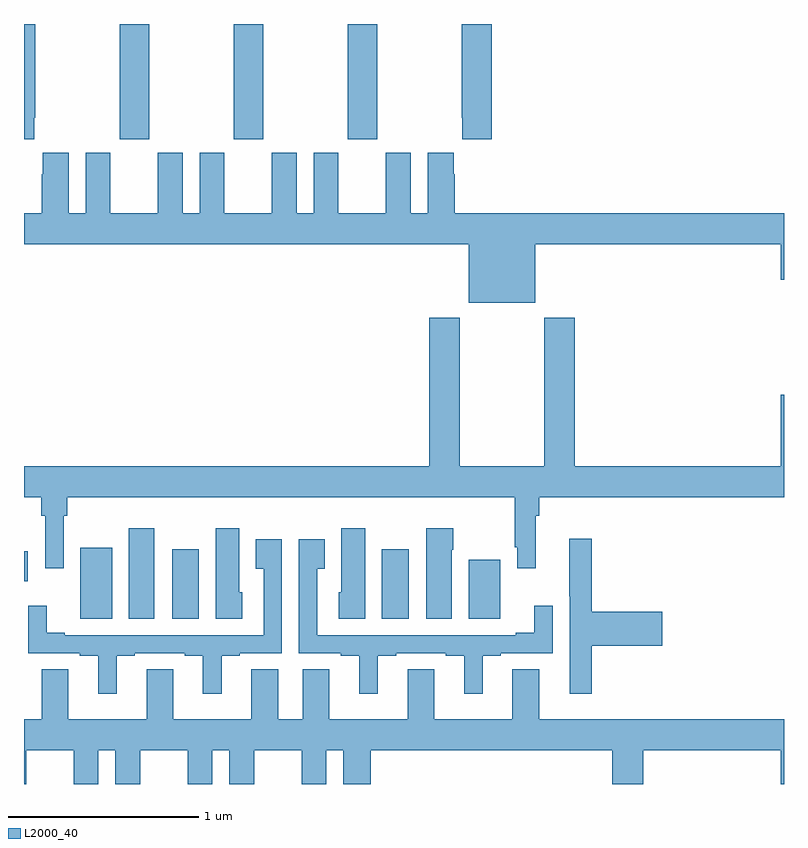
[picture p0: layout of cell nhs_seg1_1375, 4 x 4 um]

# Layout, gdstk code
import gdstk
lib = gdstk.Library(unit=1e-6, precision=1e-09)
def R(c, l, rs):  # rectangles x0, y0, x1, y1
    for r in rs: c.add(gdstk.rectangle(r[:2], r[2:], *l))
def A(c, l, x, y, w, h, nx, ny, dx, dy):  # array of equal rectangles
    R(c, l, [(x+i*dx, y+j*dy, x+i*dx+w, y+j*dy+h) for i in range(nx) for j in range(ny)])
def P(c, l, *ps):  # polygons
    for p in ps: c.add(gdstk.Polygon(p, *l))
L2000_40 = (2000, 40)

nhs_seg1_1375 = lib.new_cell('nhs_seg1_1375')
A(nhs_seg1_1375, L2000_40, 185.503, 577.593, 0.155, 0.606, 3, 1, 0.6, 0)
R(nhs_seg1_1375, L2000_40, [(185.297,575.068,185.464,575.443), (185.552,575.068,185.686,575.545), (185.78,575.068,185.92,575.434), (186.884,575.068,187.024,575.434), (187.34,575.068,187.507,575.38), (185,575.267,185.02,575.425)])
P(nhs_seg1_1375, L2000_40, [(185.053,577.705),(185.058,577.705),(185.058,578.199),(185,578.199),(185,577.593),(185.053,577.593)],
  [(187.463,578.199),(187.303,578.199),(187.303,577.705),(187.307,577.705),(187.307,577.593),(187.463,577.593)],
  [(187.69,577.04),(188.984,577.04),(188.984,576.852),(189,576.852),(189,577.204),(187.268,577.204),(187.268,577.409),(187.261,577.409),(187.261,577.522),(187.124,577.522),(187.124,577.204),(187.036,577.204),(187.036,577.522),(186.905,577.522),(186.905,577.204),(186.655,577.204),(186.655,577.522),(186.524,577.522),(186.524,577.204),(186.436,577.204),(186.436,577.522),(186.305,577.522),(186.305,577.204),(186.055,577.204),(186.055,577.522),(185.924,577.522),(185.924,577.204),(185.836,577.204),(185.836,577.522),(185.705,577.522),(185.705,577.204),(185.455,577.204),(185.455,577.522),(185.324,577.522),(185.324,577.204),(185.236,577.204),(185.236,577.522),(185.099,577.522),(185.099,577.409),(185.093,577.409),(185.093,577.204),(185,577.204),(185,577.04),(187.34,577.04),(187.34,576.731),(187.69,576.731)],
  [(185.208,575.612),(185.228,575.612),(185.228,575.708),(187.584,575.708),(187.584,575.446),(187.596,575.446),(187.596,575.334),(187.694,575.334),(187.694,575.612),(187.712,575.612),(187.712,575.708),(189,575.708),(189,576.247),(188.984,576.247),(188.984,575.872),(187.898,575.872),(187.898,576.652),(187.738,576.652),(187.738,575.872),(187.293,575.872),(187.293,576.652),(187.133,576.652),(187.133,575.872),(185,575.872),(185,575.708),(185.092,575.708),(185.092,575.612),(185.111,575.612),(185.111,575.334),(185.208,575.334)],
  [(186.148,575.208),(186.133,575.208),(186.133,575.545),(186.008,575.545),(186.008,575.068),(186.148,575.068)],
  [(186.796,575.545),(186.671,575.545),(186.671,575.208),(186.656,575.208),(186.656,575.068),(186.796,575.068)],
  [(187.252,575.432),(187.26,575.432),(187.26,575.545),(187.118,575.545),(187.118,575.068),(187.252,575.068)],
  [(187.988,574.927),(188.359,574.927),(188.359,575.105),(187.988,575.105),(187.988,575.491),(187.871,575.491),(187.871,575.188),(187.872,575.188),(187.872,574.674),(187.988,574.674)],
  [(186.862,574.875),(186.958,574.875),(186.958,574.887),(187.22,574.887),(187.22,574.875),(187.316,574.875),(187.316,574.674),(187.414,574.674),(187.414,574.875),(187.51,574.875),(187.51,574.887),(187.782,574.887),(187.782,575.137),(187.685,575.137),(187.685,574.996),(187.589,574.996),(187.589,574.983),(186.543,574.983),(186.543,575.332),(186.583,575.332),(186.583,575.488),(186.447,575.488),(186.447,574.887),(186.668,574.887),(186.668,574.875),(186.764,574.875),(186.764,574.674),(186.862,574.674)],
  [(185.488,574.875),(185.584,574.875),(185.584,574.887),(185.846,574.887),(185.846,574.875),(185.942,574.875),(185.942,574.674),(186.04,574.674),(186.04,574.875),(186.136,574.875),(186.136,574.887),(186.357,574.887),(186.357,575.488),(186.221,575.488),(186.221,575.332),(186.261,575.332),(186.261,574.983),(185.215,574.983),(185.215,574.996),(185.119,574.996),(185.119,575.137),(185.022,575.137),(185.022,574.887),(185.294,574.887),(185.294,574.875),(185.39,574.875),(185.39,574.674),(185.488,574.674)],
  [(185.011,574.376),(185.261,574.376),(185.261,574.199),(185.392,574.199),(185.392,574.376),(185.48,574.376),(185.48,574.199),(185.611,574.199),(185.611,574.376),(185.861,574.376),(185.861,574.199),(185.992,574.199),(185.992,574.376),(186.08,574.376),(186.08,574.199),(186.211,574.199),(186.211,574.376),(186.461,574.376),(186.461,574.199),(186.592,574.199),(186.592,574.376),(186.68,574.376),(186.68,574.199),(186.824,574.199),(186.824,574.376),(188.096,574.376),(188.096,574.199),(188.26,574.199),(188.26,574.376),(188.984,574.376),(188.984,574.199),(189,574.199),(189,574.54),(187.711,574.54),(187.711,574.802),(187.571,574.802),(187.571,574.54),(187.159,574.54),(187.159,574.802),(187.019,574.802),(187.019,574.54),(186.607,574.54),(186.607,574.802),(186.467,574.802),(186.467,574.54),(186.337,574.54),(186.337,574.802),(186.197,574.802),(186.197,574.54),(185.785,574.54),(185.785,574.802),(185.645,574.802),(185.645,574.54),(185.233,574.54),(185.233,574.802),(185.093,574.802),(185.093,574.54),(185,574.54),(185,574.199),(185.011,574.199)])

lib.write_gds('nhs_seg1_1375.gds')
